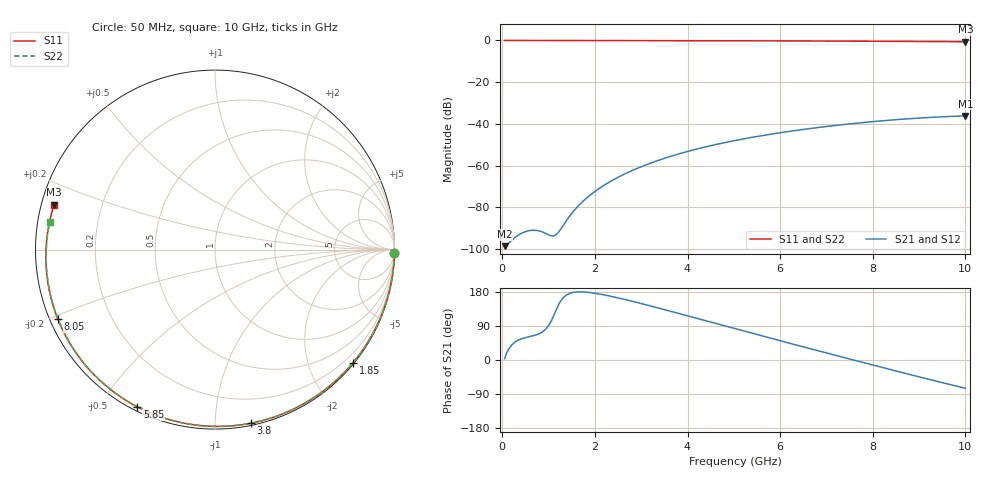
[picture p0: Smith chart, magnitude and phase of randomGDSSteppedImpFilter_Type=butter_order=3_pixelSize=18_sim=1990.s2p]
! freq	dB(S11)	phase(S11)	dB(S12)	phase(S12)
!  dB(S21)	phase(S21)	dB(S22)	phase(S22)
!S-par simulation data
#  GHz  S  DB  R 50
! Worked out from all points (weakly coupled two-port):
!   200 points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, 50 MHz to 10 GHz, reference 50 ohm
!   highest |S21| = -36.15 dB at 10 GHz (marker M1); lowest = -98.6 dB at 50 MHz (marker M2)
!   lowest |S11| = -0.6 dB at 10 GHz (marker M3), VSWR 27.87, Z = 1.83 + j6.85 ohm
!   |S11| at or under -10 dB: nowhere
!   |S22| runs from -0.6 to 0.0 dB; largest |S21 - S12| = 0
!   S11 on the Smith chart (normalised r, x): 50 MHz: open; 1.85 GHz: 0.03, -2.79; 3.8 GHz: 0.02, -1.23; 5.85 GHz: 0.02, -0.62; 8.05 GHz: 0.02, -0.21; 10 GHz: 0.04, +0.14
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0.05  -0.00 -1.1  -98.63 3.2  -98.63 3.2  -0.00 -1.1
0.4  -0.01 -8.7  -92.64 55.3  -92.64 55.3  -0.01 -8.6
0.8  -0.02 -17.3  -91.34 69.7  -91.34 69.7  -0.02 -17.0
1.6  -0.04 -34.2  -80.30 179.5  -80.30 179.5  -0.04 -33.7
1.75  -0.05 -37.3  -76.95 179.6  -76.95 179.6  -0.05 -36.8
1.85  -0.05 -39.4  -75.00 178.7  -75.00 178.7  -0.05 -38.8
2.15  -0.06 -45.6  -70.11 173.0  -70.11 173.0  -0.06 -44.9
2.5  -0.07 -52.7  -65.60 163.9  -65.60 163.9  -0.07 -51.9
2.9  -0.08 -60.7  -61.45 152.0  -61.45 152.0  -0.08 -59.8
3.4  -0.09 -70.6  -57.26 136.2  -57.26 136.2  -0.09 -69.5
3.8  -0.11 -78.3  -54.47 123.2  -54.47 123.2  -0.10 -77.1
4.4  -0.13 -89.7  -50.97 103.3  -50.97 103.3  -0.13 -88.2
5.05  -0.16 -101.7  -47.87 81.9  -47.87 81.9  -0.15 -100.0
5.85  -0.20 -116.2  -44.76 55.7  -44.76 55.7  -0.20 -114.1
6.7  -0.26 -131.5  -42.07 28.2  -42.07 28.2  -0.25 -128.9
7.4  -0.32 -144.2  -40.24 5.8  -40.24 5.8  -0.31 -141.1
8.05  -0.38 -156.2  -38.82 -14.8  -38.82 -14.8  -0.37 -152.5
8.35  -0.41 -161.9  -38.25 -24.3  -38.25 -24.3  -0.40 -157.9
8.8  -0.46 -170.6  -37.50 -38.3  -37.50 -38.3  -0.45 -166.1
9.2  -0.51 -178.6  -36.94 -50.7  -36.94 -50.7  -0.50 -173.6
9.6  -0.57 173.1  -36.49 -62.8  -36.49 -62.8  -0.55 178.7
10  -0.62 164.4  -36.15 -74.5  -36.15 -74.5  -0.60 170.7
